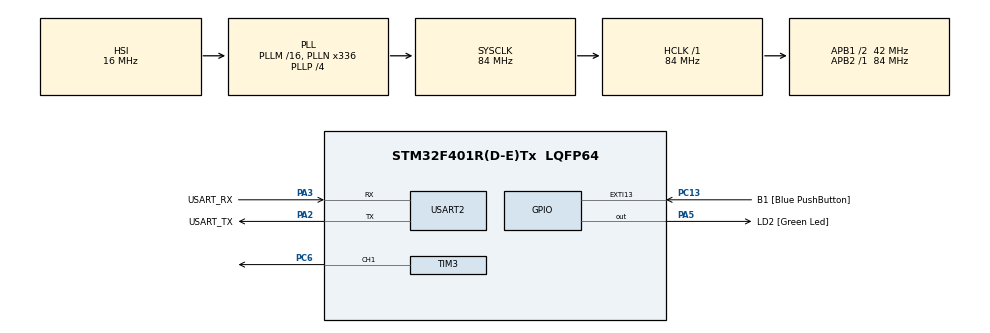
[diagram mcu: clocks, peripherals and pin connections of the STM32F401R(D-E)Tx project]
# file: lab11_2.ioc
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Mcu.Family=STM32F4
Mcu.Name=STM32F401R(D-E)Tx
Mcu.Package=LQFP64
NVIC.PriorityGroup=NVIC_PRIORITYGROUP_0
NVIC.USART2_IRQn=true\:0\:0\:false\:false\:true\:true\:true
PA13.GPIO_Label=TMS
PA13.Mode=Serial_Wire
PA13.Signal=SYS_JTMS-SWDIO
PA14.GPIO_Label=TCK
PA14.Mode=Serial_Wire
PA14.Signal=SYS_JTCK-SWCLK
PA2.GPIO_Label=USART_TX
PA2.GPIO_Mode=GPIO_MODE_AF_PP
PA2.GPIO_PuPd=GPIO_NOPULL
PA2.GPIO_Speed=GPIO_SPEED_FREQ_LOW
PA2.Mode=Asynchronous
PA2.Signal=USART2_TX
PA3.GPIO_Label=USART_RX
PA3.GPIO_Mode=GPIO_MODE_AF_PP
PA3.GPIO_PuPd=GPIO_NOPULL
PA3.GPIO_Speed=GPIO_SPEED_FREQ_LOW
PA3.Mode=Asynchronous
PA3.Signal=USART2_RX
PA5.GPIO_Label=LD2 [Green Led]
PA5.GPIO_Mode=GPIO_MODE_OUTPUT_PP
PA5.GPIO_PuPd=GPIO_NOPULL
PA5.GPIO_Speed=GPIO_SPEED_FREQ_LOW
PA5.Signal=GPIO_Output
PB3.GPIO_Label=SWO
PB3.Signal=SYS_JTDO-SWO
PC13-ANTI_TAMP.GPIO_Label=B1 [Blue PushButton]
PC13-ANTI_TAMP.GPIO_ModeDefaultEXTI=GPIO_MODE_IT_FALLING
PC13-ANTI_TAMP.GPIO_PuPd=GPIO_NOPULL
PC13-ANTI_TAMP.Signal=GPXTI13
PC14-OSC32_IN.Mode=LSE-External-Oscillator
PC14-OSC32_IN.Signal=RCC_OSC32_IN
PC15-OSC32_OUT.Mode=LSE-External-Oscillator
PC15-OSC32_OUT.Signal=RCC_OSC32_OUT
PC6.Signal=S_TIM3_CH1
PH0\ -\ OSC_IN.Mode=HSE-External-Clock-Source
PH0\ -\ OSC_IN.Signal=RCC_OSC_IN
PH1\ -\ OSC_OUT.Mode=HSE-External-Clock-Source
PH1\ -\ OSC_OUT.Signal=RCC_OSC_OUT
ProjectManager.HeapSize=0x200
ProjectManager.StackSize=0x400
ProjectManager.TargetToolchain=STM32CubeIDE
RCC.48MHZClocksFreq_Value=48000000
RCC.AHBFreq_Value=84000000
RCC.APB1CLKDivider=RCC_HCLK_DIV2
RCC.APB1Freq_Value=42000000
RCC.APB1TimFreq_Value=84000000
RCC.APB2Freq_Value=84000000
RCC.APB2TimFreq_Value=84000000
RCC.CortexFreq_Value=84000000
RCC.HCLKFreq_Value=84000000
RCC.HSE_VALUE=8000000
RCC.HSI_VALUE=16000000
RCC.PLLN=336
RCC.PLLP=RCC_PLLP_DIV4
RCC.PLLQ=7
RCC.SYSCLKFreq_VALUE=84000000
RCC.SYSCLKSource=RCC_SYSCLKSOURCE_PLLCLK
RCC.VCOOutputFreq_Value=336000000
SH.S_TIM3_CH1.0=TIM3_CH1,PWM Generation1 CH1
TIM3.Channel-PWM\ Generation1\ CH1=TIM_CHANNEL_1
TIM3.Period=42000
TIM3.Prescaler=1
USART2.VirtualMode=VM_ASYNC
VP_TIM3_VS_ClockSourceINT.Mode=Internal
board=NUCLEO-F401RE

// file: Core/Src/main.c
/* USER CODE BEGIN Header */
/**
  ******************************************************************************
  * @file           : main.c
  * @brief          : Main program body
  ******************************************************************************
  * @attention
  *
  * Copyright (c) 2023 STMicroelectronics.
  * All rights reserved.
  *
  * This software is licensed under terms that can be found in the LICENSE file
  * in the root directory of this software component.
  * If no LICENSE file comes with this software, it is provided AS-IS.
  *
  ******************************************************************************
  */
/* USER CODE END Header */
#include "main.h"

TIM_HandleTypeDef htim3;

UART_HandleTypeDef huart2;

/* USER CODE BEGIN PV */
volatile int correctlyReceivedData;
volatile int correctlySentData;

/* USER CODE END PV */

void SystemClock_Config(void);
static void MX_GPIO_Init(void);
static void MX_USART2_UART_Init(void);
static void MX_TIM3_Init(void);

int main(void)
{

  /* MCU Configuration--------------------------------------------------------*/

  /* Reset of all peripherals, Initializes the Flash interface and the Systick. */
  HAL_Init();

  /* Configure the system clock */
  SystemClock_Config();

  /* Initialize all configured peripherals */
  MX_GPIO_Init();
  MX_USART2_UART_Init();
  MX_TIM3_Init();
  /* USER CODE BEGIN 2 */
  char character[3];
  HAL_UART_Receive_IT(&huart2, character, 2);
  HAL_UART_Transmit_IT(&huart2, "RELASED\n", sizeof("RELASED\n"));
  HAL_TIM_PWM_Start(&htim3, TIM_CHANNEL_1);

  /* USER CODE END 2 */

  /* Infinite loop */
  /* USER CODE BEGIN WHILE */
  while (1)
  {

	  if (correctlySentData == 1) {
	  		  correctlySentData = 0;
	  	  	  // …
	  	  }
	  	  // Check RX flag
	  	  if (correctlyReceivedData == 1) {
	  		  correctlyReceivedData = 0;
	  		//HAL_UART_Transmit_IT(&huart2, character, sizeof(character));
	  		int val = atoi(character);
	  		uint16_t T=(42000*val)/60;
	  		__HAL_TIM_SET_COMPARE(&htim3, TIM_CHANNEL_1, T);

	  		HAL_UART_Receive_IT(&huart2, character, 2);
	  	  	  // …

	  	  }
    /* USER CODE END WHILE */

  }
}

void SystemClock_Config(void)
{
  RCC_OscInitTypeDef RCC_OscInitStruct = {0};
  RCC_ClkInitTypeDef RCC_ClkInitStruct = {0};

  /** Configure the main internal regulator output voltage
  */
  __HAL_RCC_PWR_CLK_ENABLE();
  __HAL_PWR_VOLTAGESCALING_CONFIG(PWR_REGULATOR_VOLTAGE_SCALE2);
  /** Initializes the RCC Oscillators according to the specified parameters
  * in the RCC_OscInitTypeDef structure.
  */
  RCC_OscInitStruct.OscillatorType = RCC_OSCILLATORTYPE_HSI;
  RCC_OscInitStruct.HSIState = RCC_HSI_ON;
  RCC_OscInitStruct.HSICalibrationValue = RCC_HSICALIBRATION_DEFAULT;
  RCC_OscInitStruct.PLL.PLLState = RCC_PLL_ON;
  RCC_OscInitStruct.PLL.PLLSource = RCC_PLLSOURCE_HSI;
  RCC_OscInitStruct.PLL.PLLM = 16;
  RCC_OscInitStruct.PLL.PLLN = 336;
  RCC_OscInitStruct.PLL.PLLP = RCC_PLLP_DIV4;
  RCC_OscInitStruct.PLL.PLLQ = 7;
  if (HAL_RCC_OscConfig(&RCC_OscInitStruct) != HAL_OK)
  {
    Error_Handler();
  }
  /** Initializes the CPU, AHB and APB buses clocks
  */
  RCC_ClkInitStruct.ClockType = RCC_CLOCKTYPE_HCLK|RCC_CLOCKTYPE_SYSCLK
                              |RCC_CLOCKTYPE_PCLK1|RCC_CLOCKTYPE_PCLK2;
  RCC_ClkInitStruct.SYSCLKSource = RCC_SYSCLKSOURCE_PLLCLK;
  RCC_ClkInitStruct.AHBCLKDivider = RCC_SYSCLK_DIV1;
  RCC_ClkInitStruct.APB1CLKDivider = RCC_HCLK_DIV2;
  RCC_ClkInitStruct.APB2CLKDivider = RCC_HCLK_DIV1;

  if (HAL_RCC_ClockConfig(&RCC_ClkInitStruct, FLASH_LATENCY_2) != HAL_OK)
  {
    Error_Handler();
  }
}

static void MX_TIM3_Init(void)
{

  TIM_ClockConfigTypeDef sClockSourceConfig = {0};
  TIM_MasterConfigTypeDef sMasterConfig = {0};
  TIM_OC_InitTypeDef sConfigOC = {0};

  htim3.Instance = TIM3;
  htim3.Init.Prescaler = 1;
  htim3.Init.CounterMode = TIM_COUNTERMODE_UP;
  htim3.Init.Period = 42000;
  htim3.Init.ClockDivision = TIM_CLOCKDIVISION_DIV1;
  htim3.Init.AutoReloadPreload = TIM_AUTORELOAD_PRELOAD_DISABLE;
  if (HAL_TIM_Base_Init(&htim3) != HAL_OK)
  {
    Error_Handler();
  }
  sClockSourceConfig.ClockSource = TIM_CLOCKSOURCE_INTERNAL;
  if (HAL_TIM_ConfigClockSource(&htim3, &sClockSourceConfig) != HAL_OK)
  {
    Error_Handler();
  }
  if (HAL_TIM_PWM_Init(&htim3) != HAL_OK)
  {
    Error_Handler();
  }
  sMasterConfig.MasterOutputTrigger = TIM_TRGO_RESET;
  sMasterConfig.MasterSlaveMode = TIM_MASTERSLAVEMODE_DISABLE;
  if (HAL_TIMEx_MasterConfigSynchronization(&htim3, &sMasterConfig) != HAL_OK)
  {
    Error_Handler();
  }
  sConfigOC.OCMode = TIM_OCMODE_PWM1;
  sConfigOC.Pulse = 0;
  sConfigOC.OCPolarity = TIM_OCPOLARITY_HIGH;
  sConfigOC.OCFastMode = TIM_OCFAST_DISABLE;
  if (HAL_TIM_PWM_ConfigChannel(&htim3, &sConfigOC, TIM_CHANNEL_1) != HAL_OK)
  {
    Error_Handler();
  }
  HAL_TIM_MspPostInit(&htim3);

}

static void MX_USART2_UART_Init(void)
{

  huart2.Instance = USART2;
  huart2.Init.BaudRate = 115200;
  huart2.Init.WordLength = UART_WORDLENGTH_8B;
  huart2.Init.StopBits = UART_STOPBITS_1;
  huart2.Init.Parity = UART_PARITY_NONE;
  huart2.Init.Mode = UART_MODE_TX_RX;
  huart2.Init.HwFlowCtl = UART_HWCONTROL_NONE;
  huart2.Init.OverSampling = UART_OVERSAMPLING_16;
  if (HAL_UART_Init(&huart2) != HAL_OK)
  {
    Error_Handler();
  }

}

static void MX_GPIO_Init(void)
{
  GPIO_InitTypeDef GPIO_InitStruct = {0};

  /* GPIO Ports Clock Enable */
  __HAL_RCC_GPIOC_CLK_ENABLE();
  __HAL_RCC_GPIOH_CLK_ENABLE();
  __HAL_RCC_GPIOA_CLK_ENABLE();
  __HAL_RCC_GPIOB_CLK_ENABLE();

  /*Configure GPIO pin Output Level */
  HAL_GPIO_WritePin(LD2_GPIO_Port, LD2_Pin, GPIO_PIN_RESET);

  /*Configure GPIO pin : B1_Pin */
  GPIO_InitStruct.Pin = B1_Pin;
  GPIO_InitStruct.Mode = GPIO_MODE_IT_FALLING;
  GPIO_InitStruct.Pull = GPIO_NOPULL;
  HAL_GPIO_Init(B1_GPIO_Port, &GPIO_InitStruct);

  /*Configure GPIO pin : LD2_Pin */
  GPIO_InitStruct.Pin = LD2_Pin;
  GPIO_InitStruct.Mode = GPIO_MODE_OUTPUT_PP;
  GPIO_InitStruct.Pull = GPIO_NOPULL;
  GPIO_InitStruct.Speed = GPIO_SPEED_FREQ_LOW;
  HAL_GPIO_Init(LD2_GPIO_Port, &GPIO_InitStruct);

}

/* USER CODE BEGIN 4 */
void HAL_UART_TxCpltCallback (UART_HandleTypeDef *huart){
	//Set TX flag
 	correctlySentData = 1;
}

void HAL_UART_RxCpltCallback (UART_HandleTypeDef *huart){
	// Set RX flag
	correctlyReceivedData = 1;
}

/* USER CODE END 4 */

void Error_Handler(void)
{
  __disable_irq();
  while (1)
  {
  }
}
